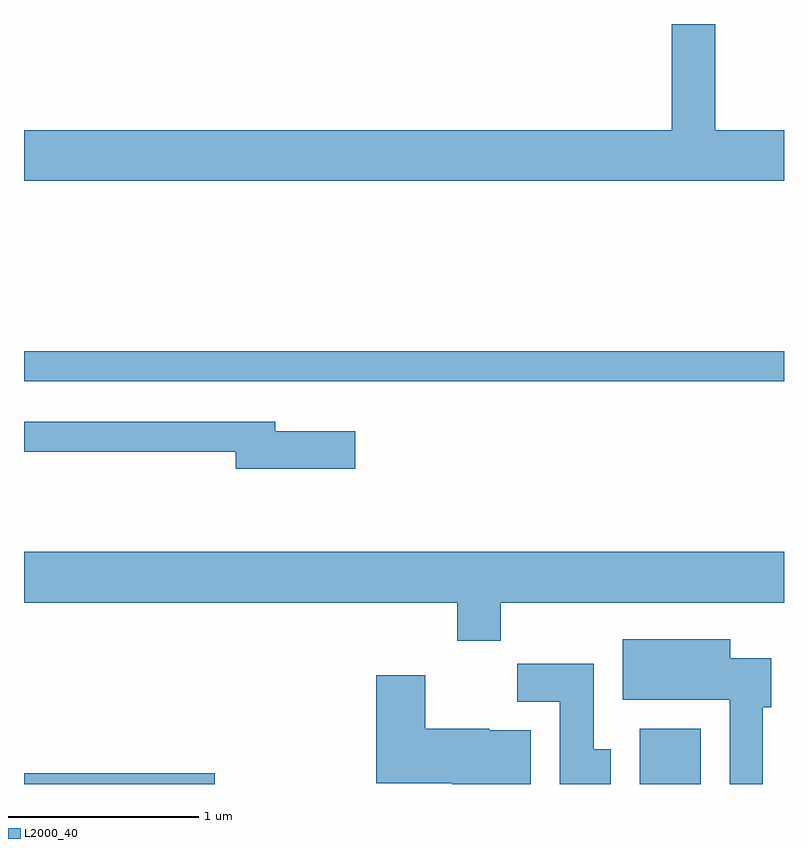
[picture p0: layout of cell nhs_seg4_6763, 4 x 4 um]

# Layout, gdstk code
import gdstk
lib = gdstk.Library(unit=1e-6, precision=1e-09)
def R(c, l, rs):  # rectangles x0, y0, x1, y1
    for r in rs: c.add(gdstk.rectangle(r[:2], r[2:], *l))
def P(c, l, *ps):  # polygons
    for p in ps: c.add(gdstk.Polygon(p, *l))
L2000_40 = (2000, 40)

nhs_seg4_6763 = lib.new_cell('nhs_seg4_6763')
R(nhs_seg4_6763, L2000_40, [(383.611,1315.982,384.614,1316.039), (386.851,1315.982,387.174,1316.274), (383.611,1318.101,387.611,1318.259)])
P(nhs_seg4_6763, L2000_40, [(387.611,1319.424),(387.249,1319.424),(387.249,1319.982),(387.021,1319.982),(387.021,1319.424),(383.611,1319.424),(383.611,1319.156),(387.611,1319.156)],
  [(385.354,1317.839),(384.934,1317.839),(384.934,1317.889),(383.611,1317.889),(383.611,1317.731),(384.726,1317.731),(384.726,1317.641),(385.354,1317.641)],
  [(386.119,1316.936),(387.611,1316.936),(387.611,1317.204),(383.611,1317.204),(383.611,1316.936),(385.891,1316.936),(385.891,1316.736),(386.119,1316.736)],
  [(387.499,1316.386),(387.544,1316.386),(387.544,1316.644),(387.329,1316.644),(387.329,1316.744),(386.761,1316.744),(386.761,1316.426),(387.326,1316.426),(387.326,1315.982),(387.499,1315.982)],
  [(386.699,1316.164),(386.609,1316.164),(386.609,1316.614),(386.206,1316.614),(386.206,1316.416),(386.431,1316.416),(386.431,1315.982),(386.699,1315.982)],
  [(386.279,1316.264),(386.06,1316.264),(386.06,1316.274),(385.724,1316.274),(385.724,1316.554),(385.466,1316.554),(385.466,1315.986),(385.866,1315.986),(385.866,1315.982),(386.279,1315.982)])

lib.write_gds('nhs_seg4_6763.gds')
